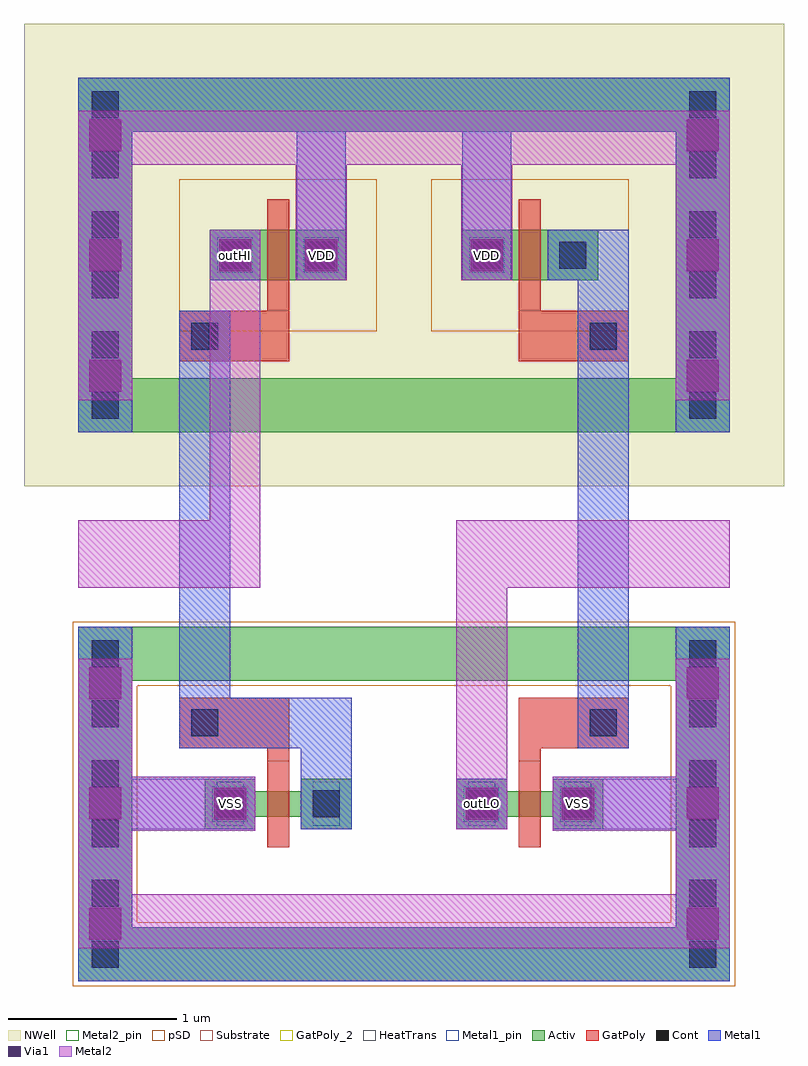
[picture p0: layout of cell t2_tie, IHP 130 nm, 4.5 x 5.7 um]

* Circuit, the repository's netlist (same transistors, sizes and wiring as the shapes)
** sch_path: /foss/designs/PROJECTS/cmos-pll-ihp-sg13g2/Team 2 Design/design_data/xschem/t2_tie.sch
.subckt t2_tie VDD VSS outHI outLO
*.PININFO VSS:B outLO:O VDD:B outHI:O
M1 outHI net1 VDD VDD sg13_lv_pmos w=0.3u l=0.13u ng=1 m=1
M2 net1 net1 VSS VSS sg13_lv_nmos w=0.15u l=0.13u ng=1 m=1
M3 net2 net2 VDD VDD sg13_lv_pmos w=0.3u l=0.13u ng=1 m=1
M4 outLO net2 VSS VSS sg13_lv_nmos w=0.15u l=0.13u ng=1 m=1
.ends

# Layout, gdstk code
import gdstk
lib = gdstk.Library(unit=1e-6, precision=1e-09)
def R(c, l, rs):  # rectangles x0, y0, x1, y1
    for r in rs: c.add(gdstk.rectangle(r[:2], r[2:], *l))
def A(c, l, x, y, w, h, nx, ny, dx, dy):  # array of equal rectangles
    R(c, l, [(x+i*dx, y+j*dy, x+i*dx+w, y+j*dy+h) for i in range(nx) for j in range(ny)])
Activ = (1, 0)
GatPoly = (5, 0)
GatPoly_2 = (5, 2)
Cont = (6, 0)
Metal1 = (8, 0)
Metal1_pin = (8, 2)
Metal2 = (10, 0)
Metal2_pin = (10, 2)
pSD = (14, 0)
Via1 = (19, 0)
NWell = (31, 0)
Substrate = (40, 0)
HeatTrans = (51, 0)

nmos = lib.new_cell('nmos')
R(nmos, Activ, [(0,0,0.3,0.3), (0.57,0,0.87,0.3), (0,0.075,0.87,0.225)])
R(nmos, GatPoly, [(0.37,-0.105,0.5,0.405)])
R(nmos, GatPoly_2, [(0.37,-0.105,0.5,0.405)])
R(nmos, Cont, [(0.07,0.07,0.23,0.23), (0.64,0.07,0.8,0.23)])
R(nmos, Metal1, [(0.07,0.02,0.23,0.28), (0.64,0.02,0.8,0.28)])
R(nmos, Metal1_pin, [(0.07,0.02,0.23,0.28), (0.64,0.02,0.8,0.28)])
R(nmos, HeatTrans, [(0.37,-0.105,0.5,0.405)])
nmos.add(gdstk.Label('nmos', (0.435,0.15), layer=63, texttype=0))
nmos.add(gdstk.Label('nmos', (0.435,0.15), layer=51, texttype=0))

pmos1 = lib.new_cell('pmos1')
R(pmos1, Activ, [(0,0,0.3,0.3), (0,0,0.81,0.3), (0.51,0,0.81,0.3)])
R(pmos1, GatPoly, [(0.34,-0.18,0.47,0.48), (0.34,-0.18,0.47,0.48)])
R(pmos1, Cont, [(0.07,0.07,0.23,0.23), (0.58,0.07,0.74,0.23)])
R(pmos1, Metal1, [(0.07,0,0.23,0.3), (0.07,0,0.23,0.3), (0.58,0,0.74,0.3), (0.58,0,0.74,0.3)])
R(pmos1, pSD, [(-0.18,-0.3,0.99,0.6)])
R(pmos1, NWell, [(-0.31,-0.31,1.12,0.61)])
R(pmos1, Substrate, [(0.51,0,0.81,0.3)])
R(pmos1, HeatTrans, [(0.34,-0.18,0.47,0.48)])
pmos1.add(gdstk.Label('pmos', (0.405,0.15), layer=63, texttype=0))
pmos1.add(gdstk.Label('pmos', (0.405,0.15), layer=51, texttype=0))

t2_tie = lib.new_cell('t2_tie')
R(t2_tie, Activ, [(-6.73,-2.335,-6.41,-0.555), (-6.41,-2.335,-2.87,-2.015), (-3.19,-2.015,-2.87,-0.235), (-6.73,-0.555,-3.19,-0.235), (-6.73,0.915,-3.19,1.235), (-3.19,0.915,-2.87,2.695), (-6.73,1.235,-6.41,3.015), (-6.41,2.695,-2.87,3.015)])
R(t2_tie, GatPoly, [(-5.61,-1.03,-5.48,-0.955), (-4.12,-1.03,-3.99,-0.955), (-6.13,-0.955,-5.48,-0.655), (-4.12,-0.955,-3.47,-0.655), (-6.13,1.335,-5.48,1.635), (-4.12,1.335,-3.47,1.635)])
A(t2_tie, Cont, -6.65, -1.895, 0.16, 0.16, 1, 5, 0, 0.355)
A(t2_tie, Cont, -3.11, -1.895, 0.16, 0.16, 1, 5, 0, 0.355)
A(t2_tie, Cont, -6.65, 1.355, 0.16, 0.16, 1, 5, 0, 0.355)
A(t2_tie, Cont, -3.11, 1.355, 0.16, 0.16, 1, 5, 0, 0.355)
R(t2_tie, Cont, [(-6.65,-2.255,-6.49,-2.095), (-3.11,-2.255,-2.95,-2.095), (-6.06,-0.885,-5.9,-0.725), (-3.7,-0.885,-3.54,-0.725), (-6.65,0.995,-6.49,1.155), (-3.11,0.995,-2.95,1.155), (-6.06,1.405,-5.9,1.565), (-3.7,1.405,-3.54,1.565)])
R(t2_tie, Metal1, [(-6.73,-2.335,-6.41,-0.235), (-6.41,-2.335,-3.19,-2.015), (-3.19,-2.335,-2.87,-0.235), (-6.41,-1.435,-5.68,-1.135), (-5.41,-1.435,-5.11,-0.955), (-4.49,-1.435,-4.19,-1.135), (-3.92,-1.435,-3.19,-1.135), (-6.13,-0.955,-5.83,1.635), (-5.83,-0.955,-5.11,-0.655), (-3.77,-0.955,-3.47,1.815), (-6.73,0.915,-6.41,3.015), (-3.19,0.915,-2.87,3.015), (-5.95,1.815,-5.65,2.115), (-5.435,1.815,-5.145,2.695), (-4.455,1.815,-4.165,2.695), (-3.95,1.815,-3.47,2.115), (-6.41,2.695,-3.19,3.015)])
R(t2_tie, Metal2, [(-6.73,-2.14,-6.41,-0.425), (-6.41,-2.14,-3.19,-1.82), (-3.19,-2.14,-2.87,-0.425), (-6.41,-1.445,-5.68,-1.125), (-3.92,-1.445,-3.19,-1.125), (-4.49,-1.435,-4.19,0.395), (-6.73,-0.005,-5.95,0.395), (-5.95,-0.005,-5.65,2.115), (-4.19,-0.005,-2.87,0.395), (-6.73,1.105,-6.41,2.82), (-3.19,1.105,-2.87,2.82), (-5.44,1.815,-5.14,2.5), (-4.46,1.815,-4.16,2.5), (-6.41,2.5,-3.19,2.82)])
R(t2_tie, Metal2_pin, [(-5.935,-1.39,-5.725,-1.18), (-4.445,-1.39,-4.235,-1.18), (-3.875,-1.39,-3.665,-1.18), (-5.905,1.86,-5.695,2.07), (-5.395,1.86,-5.185,2.07), (-4.415,1.86,-4.205,2.07)])
R(t2_tie, pSD, [(-6.76,-2.365,-6.38,-0.585), (-6.38,-2.365,-2.84,-1.985), (-3.22,-1.985,-2.84,-0.205), (-6.76,-0.585,-3.22,-0.205)])
R(t2_tie, Via1, [(-6.665,-2.09,-6.475,-1.9), (-3.125,-2.09,-2.935,-1.9), (-5.925,-1.38,-5.735,-1.19), (-4.435,-1.38,-4.245,-1.19), (-3.865,-1.38,-3.675,-1.19), (-6.665,-1.375,-6.475,-1.185), (-3.125,-1.375,-2.935,-1.185), (-6.665,-0.665,-6.475,-0.475), (-3.125,-0.665,-2.935,-0.475), (-6.665,1.155,-6.475,1.345), (-3.125,1.155,-2.935,1.345), (-6.665,1.87,-6.475,2.06), (-5.895,1.87,-5.705,2.06), (-5.385,1.87,-5.195,2.06), (-4.405,1.87,-4.215,2.06), (-3.125,1.87,-2.935,2.06), (-6.665,2.58,-6.475,2.77), (-3.125,2.58,-2.935,2.77)])
R(t2_tie, NWell, [(-7.05,0.595,-2.55,3.335)])
t2_tie.add(gdstk.Reference(nmos, (-4.49,-1.435)))
t2_tie.add(gdstk.Reference(pmos1, (-5.95,1.815)))
t2_tie.add(gdstk.Reference(nmos, (-5.98,-1.435)))
t2_tie.add(gdstk.Reference(pmos1, (-4.46,1.815)))
t2_tie.add(gdstk.Label('VDD', (-5.29,1.965), layer=10, texttype=2))
t2_tie.add(gdstk.Label('outHI', (-5.8,1.965), layer=10, texttype=2))
t2_tie.add(gdstk.Label('VSS', (-5.83,-1.285), layer=10, texttype=2))
t2_tie.add(gdstk.Label('VDD', (-4.31,1.965), layer=10, texttype=2))
t2_tie.add(gdstk.Label('outLO', (-4.34,-1.285), layer=10, texttype=2))
t2_tie.add(gdstk.Label('VSS', (-3.77,-1.285), layer=10, texttype=2))

lib.write_gds('t2_tie.gds')
